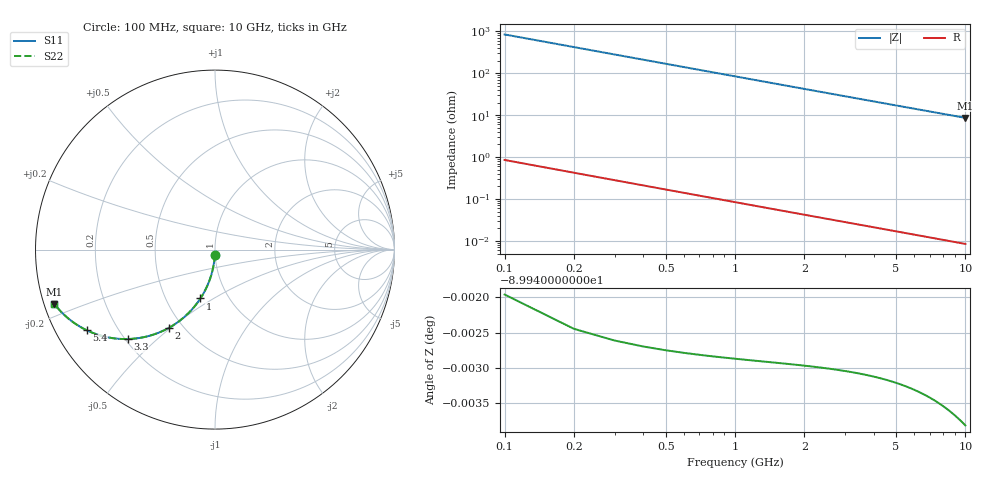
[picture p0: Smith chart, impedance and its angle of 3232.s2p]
# Hz S RI R 50.00
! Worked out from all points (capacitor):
!   100 points, 100 MHz to 10 GHz, reference 50 ohm
!   read as one part in shunt: C = 1.89 pF near 100 MHz
!   lowest |Z| = 8.63 ohm at 10 GHz (marker M1)
!   S11 on the Smith chart (normalised r, x): 100 MHz: 1.00, -0.06; 1 GHz: 0.74, -0.44; 2 GHz: 0.42, -0.49; 3.3 GHz: 0.21, -0.41; 5.4 GHz: 0.09, -0.29; 10 GHz: 0.03, -0.16
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1e8  -0.000904 -0.0296  0.9991 -0.0297  0.9991 -0.0297  -0.000904 -0.0296
2e8  -0.00356 -0.0591  0.9964 -0.0592  0.9964 -0.0592  -0.00356 -0.0591
3e8  -0.00794 -0.0882  0.992 -0.0884  0.992 -0.0884  -0.00794 -0.0882
4e8  -0.014 -0.1168  0.986 -0.1171  0.986 -0.1171  -0.014 -0.1168
5e8  -0.0216 -0.1449  0.9783 -0.1452  0.9783 -0.1452  -0.0216 -0.1449
6e8  -0.0308 -0.1722  0.9692 -0.1726  0.9692 -0.1726  -0.0308 -0.1722
7e8  -0.0415 -0.1986  0.9585 -0.1991  0.9585 -0.1991  -0.0415 -0.1986
8e8  -0.0534 -0.2241  0.9466 -0.2246  0.9466 -0.2246  -0.0534 -0.2241
1e9  -0.0809 -0.2719  0.9191 -0.2725  0.9191 -0.2725  -0.0809 -0.2719
1.2e9  -0.1123 -0.3149  0.8877 -0.3156  0.8877 -0.3156  -0.1123 -0.3149
1.4e9  -0.1467 -0.3529  0.8533 -0.3537  0.8533 -0.3537  -0.1467 -0.3529
1.8e9  -0.2208 -0.4138  0.7792 -0.4149  0.7792 -0.4149  -0.2208 -0.4138
2e9  -0.2589 -0.4369  0.7411 -0.4382  0.7411 -0.4382  -0.2589 -0.4369
2.6e9  -0.3704 -0.4816  0.6296 -0.4832  0.6296 -0.4832  -0.3704 -0.4816
3.3e9  -0.4856 -0.4983  0.5144 -0.5003  0.5144 -0.5003  -0.4856 -0.4983
3.4e9  -0.5004 -0.4985  0.4996 -0.5005  0.4996 -0.5005  -0.5004 -0.4985
4.2e9  -0.6035 -0.4874  0.3965 -0.49  0.3965 -0.49  -0.6035 -0.4874
5.1e9  -0.691 -0.46  0.309 -0.4631  0.309 -0.4631  -0.691 -0.46
5.4e9  -0.7147 -0.4494  0.2853 -0.4527  0.2853 -0.4527  -0.7147 -0.4494
6.7e9  -0.7935 -0.4022  0.2065 -0.4064  0.2065 -0.4064  -0.7935 -0.4022
8.4e9  -0.8575 -0.3464  0.1424 -0.3517  0.1424 -0.3517  -0.8575 -0.3464
1e10  -0.8949 -0.303  0.1051 -0.3093  0.1051 -0.3093  -0.8949 -0.303
